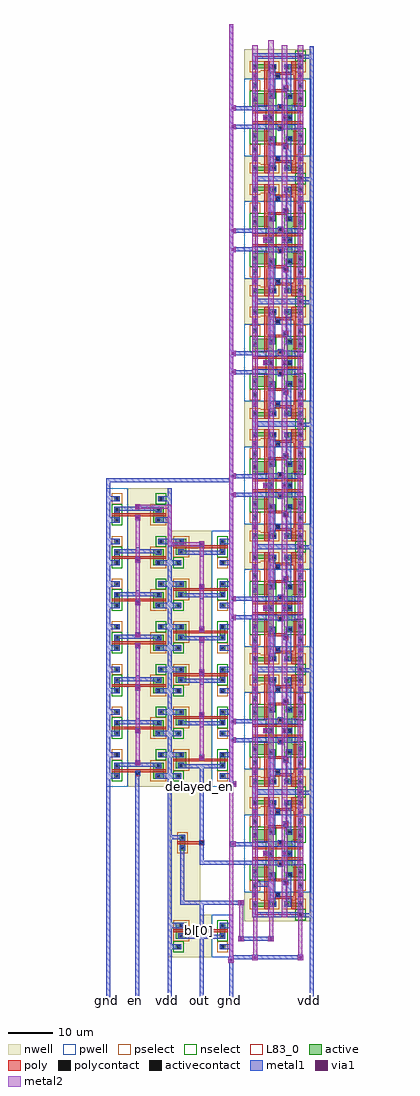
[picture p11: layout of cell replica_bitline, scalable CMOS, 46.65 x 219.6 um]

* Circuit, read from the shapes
.subckt replica_bitline bl[0] delayed_en en gnd out vdd
M1 delay_chain_2/pinv_6_1/A en gnd gnd nfet w=1.2u l=0.6u
M2 delay_chain_2/pinv_6_1/Z delay_chain_2/pinv_6_1/A gnd gnd nfet w=1.2u l=0.6u
M3 delay_chain_2/pinv_6_3/Z delay_chain_2/pinv_6_1/A gnd gnd nfet w=1.2u l=0.6u
M4 delay_chain_2/pinv_6_11/A delay_chain_2/pinv_6_1/A gnd gnd nfet w=1.2u l=0.6u
M5 delay_chain_2/pinv_6_36/Z delay_chain_2/pinv_6_11/A gnd gnd nfet w=1.2u l=0.6u
M6 delay_chain_2/pinv_6_38/Z delay_chain_2/pinv_6_11/A gnd gnd nfet w=1.2u l=0.6u
M7 delay_chain_2/pinv_6_13/A delay_chain_2/pinv_6_11/A gnd gnd nfet w=1.2u l=0.6u
M8 gnd bl[0] out gnd nfet w=1.2u l=0.6u
M9 gnd delay_chain_2/pinv_6_19/A delayed_en gnd nfet w=1.2u l=0.6u
M10 gnd delay_chain_2/pinv_6_19/A delay_chain_2/pinv_6_21/Z gnd nfet w=1.2u l=0.6u
M11 gnd delay_chain_2/pinv_6_19/A delay_chain_2/pinv_6_19/Z gnd nfet w=1.2u l=0.6u
M12 gnd delay_chain_2/pinv_6_13/A delay_chain_2/pinv_6_19/A gnd nfet w=1.2u l=0.6u
M13 gnd delay_chain_2/pinv_6_13/A delay_chain_2/pinv_6_15/Z gnd nfet w=1.2u l=0.6u
M14 gnd delay_chain_2/pinv_6_13/A delay_chain_2/pinv_6_13/Z gnd nfet w=1.2u l=0.6u
M15 gnd n1 gnd gnd nfet w=2.4u l=0.6u
M16 n2 n3 gnd gnd nfet w=2.4u l=0.6u
M17 n4 n5 gnd gnd nfet w=2.4u l=0.6u
M18 n6 n7 gnd gnd nfet w=2.4u l=0.6u
M19 n8 n9 gnd gnd nfet w=2.4u l=0.6u
M20 n10 n11 gnd gnd nfet w=2.4u l=0.6u
M21 n12 n13 gnd gnd nfet w=2.4u l=0.6u
M22 n14 n15 gnd gnd nfet w=2.4u l=0.6u
M23 n16 n17 gnd gnd nfet w=2.4u l=0.6u
M24 n18 n19 gnd gnd nfet w=2.4u l=0.6u
M25 n20 n21 gnd gnd nfet w=2.4u l=0.6u
M26 n22 n23 gnd gnd nfet w=2.4u l=0.6u
M27 n24 n25 gnd gnd nfet w=2.4u l=0.6u
M28 n26 n27 gnd gnd nfet w=2.4u l=0.6u
M29 bl[0] delayed_en gnd gnd nfet w=1.2u l=0.6u
M30 n2 gnd bl[0] gnd nfet w=1.2u l=0.6u
M31 bl[0] gnd n4 gnd nfet w=1.2u l=0.6u
M32 n6 gnd bl[0] gnd nfet w=1.2u l=0.6u
M33 bl[0] gnd n8 gnd nfet w=1.2u l=0.6u
M34 n10 gnd bl[0] gnd nfet w=1.2u l=0.6u
M35 bl[0] gnd n12 gnd nfet w=1.2u l=0.6u
M36 n14 gnd bl[0] gnd nfet w=1.2u l=0.6u
M37 bl[0] gnd n16 gnd nfet w=1.2u l=0.6u
M38 n18 gnd bl[0] gnd nfet w=1.2u l=0.6u
M39 bl[0] gnd n20 gnd nfet w=1.2u l=0.6u
M40 n22 gnd bl[0] gnd nfet w=1.2u l=0.6u
M41 bl[0] gnd n24 gnd nfet w=1.2u l=0.6u
M42 n26 gnd bl[0] gnd nfet w=1.2u l=0.6u
M43 replica_cell_6t_29/BR delayed_en n1 gnd nfet w=1.2u l=0.6u
M44 n3 gnd replica_cell_6t_29/BR gnd nfet w=1.2u l=0.6u
M45 replica_cell_6t_29/BR gnd n5 gnd nfet w=1.2u l=0.6u
M46 n7 gnd replica_cell_6t_29/BR gnd nfet w=1.2u l=0.6u
M47 replica_cell_6t_29/BR gnd n9 gnd nfet w=1.2u l=0.6u
M48 n11 gnd replica_cell_6t_29/BR gnd nfet w=1.2u l=0.6u
M49 replica_cell_6t_29/BR gnd n13 gnd nfet w=1.2u l=0.6u
M50 n15 gnd replica_cell_6t_29/BR gnd nfet w=1.2u l=0.6u
M51 replica_cell_6t_29/BR gnd n17 gnd nfet w=1.2u l=0.6u
M52 n19 gnd replica_cell_6t_29/BR gnd nfet w=1.2u l=0.6u
M53 replica_cell_6t_29/BR gnd n21 gnd nfet w=1.2u l=0.6u
M54 n23 gnd replica_cell_6t_29/BR gnd nfet w=1.2u l=0.6u
M55 replica_cell_6t_29/BR gnd n25 gnd nfet w=1.2u l=0.6u
M56 n27 gnd replica_cell_6t_29/BR gnd nfet w=1.2u l=0.6u
M57 gnd gnd n1 gnd nfet w=2.4u l=0.6u
M58 gnd n2 n3 gnd nfet w=2.4u l=0.6u
M59 gnd n4 n5 gnd nfet w=2.4u l=0.6u
M60 gnd n6 n7 gnd nfet w=2.4u l=0.6u
M61 gnd n8 n9 gnd nfet w=2.4u l=0.6u
M62 gnd n10 n11 gnd nfet w=2.4u l=0.6u
M63 gnd n12 n13 gnd nfet w=2.4u l=0.6u
M64 gnd n14 n15 gnd nfet w=2.4u l=0.6u
M65 gnd n16 n17 gnd nfet w=2.4u l=0.6u
M66 gnd n18 n19 gnd nfet w=2.4u l=0.6u
M67 gnd n20 n21 gnd nfet w=2.4u l=0.6u
M68 gnd n22 n23 gnd nfet w=2.4u l=0.6u
M69 gnd n24 n25 gnd nfet w=2.4u l=0.6u
M70 gnd n26 n27 gnd nfet w=2.4u l=0.6u
M71 delay_chain_2/pinv_6_1/A en vdd vdd pfet w=2.4u l=0.6u
M72 delay_chain_2/pinv_6_1/Z delay_chain_2/pinv_6_1/A vdd vdd pfet w=2.4u l=0.6u
M73 delay_chain_2/pinv_6_3/Z delay_chain_2/pinv_6_1/A vdd vdd pfet w=2.4u l=0.6u
M74 delay_chain_2/pinv_6_11/A delay_chain_2/pinv_6_1/A vdd vdd pfet w=2.4u l=0.6u
M75 delay_chain_2/pinv_6_36/Z delay_chain_2/pinv_6_11/A vdd vdd pfet w=2.4u l=0.6u
M76 delay_chain_2/pinv_6_38/Z delay_chain_2/pinv_6_11/A vdd vdd pfet w=2.4u l=0.6u
M77 delay_chain_2/pinv_6_13/A delay_chain_2/pinv_6_11/A vdd vdd pfet w=2.4u l=0.6u
M78 vdd bl[0] out vdd pfet w=2.4u l=0.6u
M79 vdd delay_chain_2/pinv_6_19/A delayed_en vdd pfet w=2.4u l=0.6u
M80 vdd delay_chain_2/pinv_6_19/A delay_chain_2/pinv_6_21/Z vdd pfet w=2.4u l=0.6u
M81 vdd delay_chain_2/pinv_6_19/A delay_chain_2/pinv_6_19/Z vdd pfet w=2.4u l=0.6u
M82 vdd delay_chain_2/pinv_6_13/A delay_chain_2/pinv_6_19/A vdd pfet w=2.4u l=0.6u
M83 vdd delay_chain_2/pinv_6_13/A delay_chain_2/pinv_6_15/Z vdd pfet w=2.4u l=0.6u
M84 vdd delay_chain_2/pinv_6_13/A delay_chain_2/pinv_6_13/Z vdd pfet w=2.4u l=0.6u
M85 vdd delayed_en bl[0] vdd pfet w=1.2u l=0.6u
M86 gnd n1 vdd vdd pfet w=0.9u l=1.2u
M87 n2 n3 vdd vdd pfet w=0.9u l=1.2u
M88 n4 n5 vdd vdd pfet w=0.9u l=1.2u
M89 n6 n7 vdd vdd pfet w=0.9u l=1.2u
M90 n8 n9 vdd vdd pfet w=0.9u l=1.2u
M91 n10 n11 vdd vdd pfet w=0.9u l=1.2u
M92 n12 n13 vdd vdd pfet w=0.9u l=1.2u
M93 n14 n15 vdd vdd pfet w=0.9u l=1.2u
M94 n16 n17 vdd vdd pfet w=0.9u l=1.2u
M95 n18 n19 vdd vdd pfet w=0.9u l=1.2u
M96 n20 n21 vdd vdd pfet w=0.9u l=1.2u
M97 n22 n23 vdd vdd pfet w=0.9u l=1.2u
M98 n24 n25 vdd vdd pfet w=0.9u l=1.2u
M99 n26 n27 vdd vdd pfet w=0.9u l=1.2u
M100 vdd gnd n1 vdd pfet w=0.9u l=1.2u
M101 vdd n2 n3 vdd pfet w=0.9u l=1.2u
M102 vdd n4 n5 vdd pfet w=0.9u l=1.2u
M103 vdd n6 n7 vdd pfet w=0.9u l=1.2u
M104 vdd n8 n9 vdd pfet w=0.9u l=1.2u
M105 vdd n10 n11 vdd pfet w=0.9u l=1.2u
M106 vdd n12 n13 vdd pfet w=0.9u l=1.2u
M107 vdd n14 n15 vdd pfet w=0.9u l=1.2u
M108 vdd n16 n17 vdd pfet w=0.9u l=1.2u
M109 vdd n18 n19 vdd pfet w=0.9u l=1.2u
M110 vdd n20 n21 vdd pfet w=0.9u l=1.2u
M111 vdd n22 n23 vdd pfet w=0.9u l=1.2u
M112 vdd n24 n25 vdd pfet w=0.9u l=1.2u
M113 vdd n26 n27 vdd pfet w=0.9u l=1.2u
.ends

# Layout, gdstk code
from math import pi, radians
import gdstk
lib = gdstk.Library(unit=1e-6, precision=1e-09)
def R(c, l, rs):  # rectangles x0, y0, x1, y1
    for r in rs: c.add(gdstk.rectangle(r[:2], r[2:], *l))
def A(c, l, x, y, w, h, nx, ny, dx, dy):  # array of equal rectangles
    R(c, l, [(x+i*dx, y+j*dy, x+i*dx+w, y+j*dy+h) for i in range(nx) for j in range(ny)])
pwell = (41, 0)
nwell = (42, 0)
active = (43, 0)
pselect = (44, 0)
nselect = (45, 0)
poly = (46, 0)
polycontact = (47, 0)
activecontact = (48, 0)
metal1 = (49, 0)
via1 = (50, 0)
metal2 = (51, 0)
L83_0 = (83, 0)

active_contact_metal1_1x = lib.new_cell('active_contact_metal1_1x1_pn')
R(active_contact_metal1_1x, nwell, [(-1.8,-1.8,3,3), (-1.8,-1.8,3,3)])
R(active_contact_metal1_1x, active, [(0,0,1.2,1.2), (0,0,1.2,1.2)])
R(active_contact_metal1_1x, pselect, [(-0.6,-0.6,1.8,1.8), (-0.6,-0.6,1.8,1.8)])
R(active_contact_metal1_1x, activecontact, [(0.3,0.3,0.9,0.9), (0.3,0.3,0.9,0.9)])
R(active_contact_metal1_1x, metal1, [(0,0,1.2,1.2), (0,0,1.2,1.2)])

pmos_m1_w2_4_a_p = lib.new_cell('pmos_m1_w2_4_a_p')
R(pmos_m1_w2_4_a_p, nwell, [(-1.8,-1.8,5.4,4.2), (-1.8,-1.8,5.4,4.2)])
R(pmos_m1_w2_4_a_p, active, [(0,0,3.6,2.4), (0,0,3.6,2.4)])
R(pmos_m1_w2_4_a_p, pselect, [(-0.6,-0.6,4.2,3), (-0.6,-0.6,4.2,3)])
R(pmos_m1_w2_4_a_p, poly, [(1.5,-0.6,2.1,3), (1.5,-0.6,2.1,3), (1.5,-0.6,2.1,3), (1.5,-0.6,2.1,3)])
R(pmos_m1_w2_4_a_p, metal1, [(0,0.6,1.2,1.8), (0,0.6,1.2,1.8), (2.4,0.6,3.6,1.8), (2.4,0.6,3.6,1.8)])
pmos_m1_w2_4_a_p.add(gdstk.Reference(active_contact_metal1_1x, (0,0.6)))
pmos_m1_w2_4_a_p.add(gdstk.Reference(active_contact_metal1_1x, (2.4,0.6)))
pmos_m1_w2_4_a_p.add(gdstk.Reference(active_contact_metal1_1x, (0,0.6)))
pmos_m1_w2_4_a_p.add(gdstk.Reference(active_contact_metal1_1x, (2.4,0.6)))
pmos_m1_w2_4_a_p.add(gdstk.Label('S', (0,0.6), layer=49, texttype=0))
pmos_m1_w2_4_a_p.add(gdstk.Label('D', (2.4,0.6), layer=49, texttype=0))
pmos_m1_w2_4_a_p.add(gdstk.Label('G', (1.5,-0.6), layer=46, texttype=0))
pmos_m1_w2_4_a_p.add(gdstk.Label('S', (0,0.6), layer=49, texttype=0))
pmos_m1_w2_4_a_p.add(gdstk.Label('D', (2.4,0.6), layer=49, texttype=0))
pmos_m1_w2_4_a_p.add(gdstk.Label('G', (1.5,-0.6), layer=46, texttype=0))

c_active_contact_metal1_1x = lib.new_cell('active_contact_metal1_1x1_np')
R(c_active_contact_metal1_1x, pwell, [(-1.8,-1.8,3,3)])
R(c_active_contact_metal1_1x, active, [(0,0,1.2,1.2)])
R(c_active_contact_metal1_1x, nselect, [(-0.6,-0.6,1.8,1.8)])
R(c_active_contact_metal1_1x, activecontact, [(0.3,0.3,0.9,0.9)])
R(c_active_contact_metal1_1x, metal1, [(0,0,1.2,1.2)])

nmos_m1_w1_2_a_p = lib.new_cell('nmos_m1_w1_2_a_p')
R(nmos_m1_w1_2_a_p, pwell, [(-1.8,-1.8,5.4,3), (-1.8,-1.8,5.4,3)])
R(nmos_m1_w1_2_a_p, active, [(0,0,3.6,1.2), (0,0,3.6,1.2)])
R(nmos_m1_w1_2_a_p, nselect, [(-0.6,-0.6,4.2,1.8), (-0.6,-0.6,4.2,1.8)])
R(nmos_m1_w1_2_a_p, poly, [(1.5,-0.6,2.1,1.8), (1.5,-0.6,2.1,1.8), (1.5,-0.6,2.1,1.8), (1.5,-0.6,2.1,1.8)])
R(nmos_m1_w1_2_a_p, metal1, [(0,0,1.2,1.2), (0,0,1.2,1.2), (2.4,0,3.6,1.2), (2.4,0,3.6,1.2)])
nmos_m1_w1_2_a_p.add(gdstk.Reference(c_active_contact_metal1_1x, (0,0)))
nmos_m1_w1_2_a_p.add(gdstk.Reference(c_active_contact_metal1_1x, (2.4,0)))
nmos_m1_w1_2_a_p.add(gdstk.Reference(c_active_contact_metal1_1x, (0,0)))
nmos_m1_w1_2_a_p.add(gdstk.Reference(c_active_contact_metal1_1x, (2.4,0)))
nmos_m1_w1_2_a_p.add(gdstk.Label('S', (0,0), layer=49, texttype=0))
nmos_m1_w1_2_a_p.add(gdstk.Label('D', (2.4,0), layer=49, texttype=0))
nmos_m1_w1_2_a_p.add(gdstk.Label('G', (1.5,-0.6), layer=46, texttype=0))
nmos_m1_w1_2_a_p.add(gdstk.Label('S', (0,0), layer=49, texttype=0))
nmos_m1_w1_2_a_p.add(gdstk.Label('D', (2.4,0), layer=49, texttype=0))
nmos_m1_w1_2_a_p.add(gdstk.Label('G', (1.5,-0.6), layer=46, texttype=0))

c_active_contact_metal1_1x_ = lib.new_cell('active_contact_metal1_1x1_nn')
R(c_active_contact_metal1_1x_, nwell, [(-1.8,-1.8,3,3), (-1.8,-1.8,3,3)])
R(c_active_contact_metal1_1x_, active, [(0,0,1.2,1.2), (0,0,1.2,1.2)])
R(c_active_contact_metal1_1x_, nselect, [(-0.6,-0.6,1.8,1.8), (-0.6,-0.6,1.8,1.8)])
R(c_active_contact_metal1_1x_, activecontact, [(0.3,0.3,0.9,0.9), (0.3,0.3,0.9,0.9)])
R(c_active_contact_metal1_1x_, metal1, [(0,0,1.2,1.2), (0,0,1.2,1.2)])

c_active_contact_metal1_1x__ = lib.new_cell('active_contact_metal1_1x1_pp')
R(c_active_contact_metal1_1x__, pwell, [(-1.8,-1.8,3,3)])
R(c_active_contact_metal1_1x__, active, [(0,0,1.2,1.2)])
R(c_active_contact_metal1_1x__, pselect, [(-0.6,-0.6,1.8,1.8)])
R(c_active_contact_metal1_1x__, activecontact, [(0.3,0.3,0.9,0.9)])
R(c_active_contact_metal1_1x__, metal1, [(0,0,1.2,1.2)])

poly_contact_metal1_1x1 = lib.new_cell('poly_contact_metal1_1x1')
R(poly_contact_metal1_1x1, poly, [(0,0,1.2,1.2), (0,0,1.2,1.2)])
R(poly_contact_metal1_1x1, polycontact, [(0.3,0.3,0.9,0.9), (0.3,0.3,0.9,0.9)])
R(poly_contact_metal1_1x1, metal1, [(0,0,1.2,1.2), (0,0,1.2,1.2)])

pinv_7 = lib.new_cell('pinv_7')
R(pinv_7, pwell, [(0,-0.45,9.6,4.35)])
R(pinv_7, nwell, [(0,4.35,9.6,14.25)])
R(pinv_7, poly, [(3.3,0.75,3.9,9.45), (3,6,3.3,7.2)])
R(pinv_7, metal1, [(0,-0.45,9.6,0.45), (1.8,-0.45,3,1.35), (6.6,0,7.8,1.95), (4.5,1.35,5.4,10.65), (2.4,6,3.6,7.2), (4.95,6.15,5.85,7.05), (1.8,10.65,3,14.25), (6.6,11.85,7.8,13.8), (0,13.35,9.6,14.25)])
pinv_7.add(gdstk.Reference(pmos_m1_w2_4_a_p, (1.8,10.05)))
pinv_7.add(gdstk.Reference(nmos_m1_w1_2_a_p, (1.8,1.35)))
pinv_7.add(gdstk.Reference(c_active_contact_metal1_1x_, (6.6,11.25)))
pinv_7.add(gdstk.Reference(c_active_contact_metal1_1x__, (6.6,1.35)))
pinv_7.add(gdstk.Reference(poly_contact_metal1_1x1, (2.4,6)))
pinv_7.add(gdstk.Label('A', (2.4,6), layer=49, texttype=0))
pinv_7.add(gdstk.Label('Z', (4.95,6.15), layer=49, texttype=0))
pinv_7.add(gdstk.Label('vdd', (0,13.35), layer=49, texttype=0))
pinv_7.add(gdstk.Label('gnd', (0,-0.45), layer=49, texttype=0))

pmos_m1_w1_2 = lib.new_cell('pmos_m1_w1_2')
R(pmos_m1_w1_2, nwell, [(-1.8,-1.8,5.4,3)])
R(pmos_m1_w1_2, active, [(0,0,3.6,1.2)])
R(pmos_m1_w1_2, pselect, [(-0.6,-0.6,4.2,1.8)])
R(pmos_m1_w1_2, poly, [(1.5,-0.6,2.1,1.8), (1.5,-0.6,2.1,1.8)])
R(pmos_m1_w1_2, metal1, [(0,0,1.2,1.2), (2.4,0,3.6,1.2)])
pmos_m1_w1_2.add(gdstk.Reference(active_contact_metal1_1x, (0,0)))
pmos_m1_w1_2.add(gdstk.Reference(active_contact_metal1_1x, (2.4,0)))
pmos_m1_w1_2.add(gdstk.Label('S', (0,0), layer=49, texttype=0))
pmos_m1_w1_2.add(gdstk.Label('D', (2.4,0), layer=49, texttype=0))
pmos_m1_w1_2.add(gdstk.Label('G', (1.5,-0.6), layer=46, texttype=0))

pinv_6 = lib.new_cell('pinv_6')
R(pinv_6, pwell, [(0,-0.45,9.6,4.35)])
R(pinv_6, nwell, [(0,4.35,9.6,14.25)])
R(pinv_6, poly, [(3.3,0.75,3.9,9.45), (3,6,3.3,7.2)])
R(pinv_6, metal1, [(0,-0.45,9.6,0.45), (1.8,-0.45,3,1.35), (6.6,0,7.8,1.95), (4.5,1.35,5.4,10.65), (2.4,6,3.6,7.2), (4.95,6.15,5.85,7.05), (1.8,10.65,3,14.25), (6.6,11.85,7.8,13.8), (0,13.35,9.6,14.25)])
pinv_6.add(gdstk.Reference(pmos_m1_w2_4_a_p, (1.8,10.05)))
pinv_6.add(gdstk.Reference(nmos_m1_w1_2_a_p, (1.8,1.35)))
pinv_6.add(gdstk.Reference(c_active_contact_metal1_1x_, (6.6,11.25)))
pinv_6.add(gdstk.Reference(c_active_contact_metal1_1x__, (6.6,1.35)))
pinv_6.add(gdstk.Reference(poly_contact_metal1_1x1, (2.4,6)))
pinv_6.add(gdstk.Label('A', (2.4,6), layer=49, texttype=0))
pinv_6.add(gdstk.Label('Z', (4.95,6.15), layer=49, texttype=0))
pinv_6.add(gdstk.Label('vdd', (0,13.35), layer=49, texttype=0))
pinv_6.add(gdstk.Label('gnd', (0,-0.45), layer=49, texttype=0))

metal1_via1_metal2_1x1 = lib.new_cell('metal1_via1_metal2_1x1')
R(metal1_via1_metal2_1x1, metal1, [(0,0,1.2,1.2), (0,0,1.2,1.2)])
R(metal1_via1_metal2_1x1, via1, [(0.3,0.3,0.9,0.9), (0.3,0.3,0.9,0.9)])
R(metal1_via1_metal2_1x1, metal2, [(0,0,1.2,1.2), (0,0,1.2,1.2)])

delay_chain = lib.new_cell('delay_chain')
R(delay_chain, metal1, [(0,-0.45,67.2,0.45), (0,-0.45,67.2,0.45), (67.2,-0.45,69,0.45), (67.2,-0.45,69,0.45), (68.55,-0.45,69.45,0.45), (68.55,-0.45,69.45,0.45), (68.55,0,69.45,27.6), (68.55,0,69.45,27.6), (0,6.15,3.75,7.05), (0,6.15,3.75,7.05), (0,13.35,67.2,14.25), (0,13.35,67.2,14.25), (2.4,20.4,3.6,21.6), (2.4,20.4,3.6,21.6), (0,27.15,67.2,28.05), (0,27.15,67.2,28.05), (67.2,27.15,69,28.05), (67.2,27.15,69,28.05), (68.55,27.15,69.45,28.05), (68.55,27.15,69.45,28.05)])
R(delay_chain, metal2, [(6.6,6.15,16.2,7.05), (6.6,6.15,16.2,7.05), (16.2,6.15,25.8,7.05), (16.2,6.15,25.8,7.05), (25.8,6.15,33,7.05), (25.8,6.15,33,7.05), (35.4,6.15,45,7.05), (35.4,6.15,45,7.05), (45,6.15,54.6,7.05), (45,6.15,54.6,7.05), (54.15,6.6,55.05,13.8), (54.15,6.6,55.05,13.8), (54.15,13.35,55.05,14.25), (54.15,13.35,55.05,14.25), (54.6,13.35,63,14.25), (54.6,13.35,63,14.25), (62.55,13.35,63.45,14.25), (62.55,13.35,63.45,14.25), (62.55,13.8,63.45,21), (62.55,13.8,63.45,21), (5.4,20.55,12.6,21.45), (5.4,20.55,12.6,21.45), (12.6,20.55,22.2,21.45), (12.6,20.55,22.2,21.45), (22.2,20.55,31.8,21.45), (22.2,20.55,31.8,21.45), (34.2,20.55,41.4,21.45), (34.2,20.55,41.4,21.45), (41.4,20.55,51,21.45), (41.4,20.55,51,21.45), (51,20.55,60.6,21.45), (51,20.55,60.6,21.45)])
delay_chain.add(gdstk.Reference(pinv_6, (0,27.6), x_reflection=True))
delay_chain.add(gdstk.Reference(pinv_6, (9.6,27.6), x_reflection=True))
delay_chain.add(gdstk.Reference(metal1_via1_metal2_1x1, (12,20.4)))
delay_chain.add(gdstk.Reference(pinv_6, (19.2,27.6), x_reflection=True))
delay_chain.add(gdstk.Reference(metal1_via1_metal2_1x1, (21.6,20.4)))
delay_chain.add(gdstk.Reference(pinv_6, (28.8,27.6), x_reflection=True))
delay_chain.add(gdstk.Reference(metal1_via1_metal2_1x1, (31.2,20.4)))
delay_chain.add(gdstk.Reference(pinv_6, (38.4,27.6), x_reflection=True))
delay_chain.add(gdstk.Reference(metal1_via1_metal2_1x1, (40.8,20.4)))
delay_chain.add(gdstk.Reference(pinv_6, (48,27.6), x_reflection=True))
delay_chain.add(gdstk.Reference(metal1_via1_metal2_1x1, (50.4,20.4)))
delay_chain.add(gdstk.Reference(pinv_6, (57.6,27.6), x_reflection=True))
delay_chain.add(gdstk.Reference(metal1_via1_metal2_1x1, (60,20.4)))
delay_chain.add(gdstk.Reference(pinv_6, (57.6,0), rotation=pi, x_reflection=True))
delay_chain.add(gdstk.Reference(metal1_via1_metal2_1x1, (54,6)))
delay_chain.add(gdstk.Reference(pinv_6, (48,0), rotation=pi, x_reflection=True))
delay_chain.add(gdstk.Reference(metal1_via1_metal2_1x1, (44.4,6)))
delay_chain.add(gdstk.Reference(pinv_6, (38.4,0), rotation=pi, x_reflection=True))
delay_chain.add(gdstk.Reference(metal1_via1_metal2_1x1, (34.8,6)))
delay_chain.add(gdstk.Reference(pinv_6, (28.8,0), rotation=pi, x_reflection=True))
delay_chain.add(gdstk.Reference(metal1_via1_metal2_1x1, (25.2,6)))
delay_chain.add(gdstk.Reference(pinv_6, (19.2,0), rotation=pi, x_reflection=True))
delay_chain.add(gdstk.Reference(metal1_via1_metal2_1x1, (15.6,6)))
delay_chain.add(gdstk.Reference(pinv_6, (9.6,0), rotation=pi, x_reflection=True))
delay_chain.add(gdstk.Reference(metal1_via1_metal2_1x1, (6,6)))
delay_chain.add(gdstk.Reference(metal1_via1_metal2_1x1, (4.8,20.4)))
delay_chain.add(gdstk.Reference(metal1_via1_metal2_1x1, (33.6,20.4)))
delay_chain.add(gdstk.Reference(metal1_via1_metal2_1x1, (62.4,20.4)))
delay_chain.add(gdstk.Reference(metal1_via1_metal2_1x1, (32.4,6)))
delay_chain.add(gdstk.Reference(pinv_6, (0,27.6), x_reflection=True))
delay_chain.add(gdstk.Reference(pinv_6, (9.6,27.6), x_reflection=True))
delay_chain.add(gdstk.Reference(metal1_via1_metal2_1x1, (12,20.4)))
delay_chain.add(gdstk.Reference(pinv_6, (19.2,27.6), x_reflection=True))
delay_chain.add(gdstk.Reference(metal1_via1_metal2_1x1, (21.6,20.4)))
delay_chain.add(gdstk.Reference(pinv_6, (28.8,27.6), x_reflection=True))
delay_chain.add(gdstk.Reference(metal1_via1_metal2_1x1, (31.2,20.4)))
delay_chain.add(gdstk.Reference(pinv_6, (38.4,27.6), x_reflection=True))
delay_chain.add(gdstk.Reference(metal1_via1_metal2_1x1, (40.8,20.4)))
delay_chain.add(gdstk.Reference(pinv_6, (48,27.6), x_reflection=True))
delay_chain.add(gdstk.Reference(metal1_via1_metal2_1x1, (50.4,20.4)))
delay_chain.add(gdstk.Reference(pinv_6, (57.6,27.6), x_reflection=True))
delay_chain.add(gdstk.Reference(metal1_via1_metal2_1x1, (60,20.4)))
delay_chain.add(gdstk.Reference(pinv_6, (57.6,0), rotation=pi, x_reflection=True))
delay_chain.add(gdstk.Reference(metal1_via1_metal2_1x1, (54,6)))
delay_chain.add(gdstk.Reference(pinv_6, (48,0), rotation=pi, x_reflection=True))
delay_chain.add(gdstk.Reference(metal1_via1_metal2_1x1, (44.4,6)))
delay_chain.add(gdstk.Reference(pinv_6, (38.4,0), rotation=pi, x_reflection=True))
delay_chain.add(gdstk.Reference(metal1_via1_metal2_1x1, (34.8,6)))
delay_chain.add(gdstk.Reference(pinv_6, (28.8,0), rotation=pi, x_reflection=True))
delay_chain.add(gdstk.Reference(metal1_via1_metal2_1x1, (25.2,6)))
delay_chain.add(gdstk.Reference(pinv_6, (19.2,0), rotation=pi, x_reflection=True))
delay_chain.add(gdstk.Reference(metal1_via1_metal2_1x1, (15.6,6)))
delay_chain.add(gdstk.Reference(pinv_6, (9.6,0), rotation=pi, x_reflection=True))
delay_chain.add(gdstk.Reference(metal1_via1_metal2_1x1, (6,6)))
delay_chain.add(gdstk.Reference(metal1_via1_metal2_1x1, (4.8,20.4)))
delay_chain.add(gdstk.Reference(metal1_via1_metal2_1x1, (33.6,20.4)))
delay_chain.add(gdstk.Reference(metal1_via1_metal2_1x1, (62.4,20.4)))
delay_chain.add(gdstk.Reference(metal1_via1_metal2_1x1, (32.4,6)))
delay_chain.add(gdstk.Label('out', (0,6.15), layer=49, texttype=0))
delay_chain.add(gdstk.Label('vdd', (0,13.35), layer=49, texttype=0))
delay_chain.add(gdstk.Label('gnd', (0,-0.45), layer=49, texttype=0))
delay_chain.add(gdstk.Label('gnd', (0,27.15), layer=49, texttype=0))
delay_chain.add(gdstk.Label('in', (2.4,20.4), layer=49, texttype=0))
delay_chain.add(gdstk.Label('out', (0,6.15), layer=49, texttype=0))
delay_chain.add(gdstk.Label('vdd', (0,13.35), layer=49, texttype=0))
delay_chain.add(gdstk.Label('gnd', (0,-0.45), layer=49, texttype=0))
delay_chain.add(gdstk.Label('gnd', (0,27.15), layer=49, texttype=0))
delay_chain.add(gdstk.Label('in', (2.4,20.4), layer=49, texttype=0))

replica_cell_6t = lib.new_cell('replica_cell_6t')
R(replica_cell_6t, pwell, [(-2.4,-2.4,12.6,8.7)])
R(replica_cell_6t, nwell, [(-2.4,8.7,12.6,15.3)])
A(replica_cell_6t, active, 3.6, 10.8, 1.2, 0.3, 3, 1, 3, 0)
R(replica_cell_6t, active, [(3,-0.6,4.2,3), (7.2,-0.6,8.4,3), (-0.6,3,4.2,5.4), (7.2,3,10.8,5.4), (-0.6,6.6,0.6,7.8), (9.6,6.6,10.8,7.8), (-0.6,10.8,0.6,11.1), (-0.6,11.1,4.8,12), (6.6,11.1,10.8,12), (9.6,13.2,10.8,14.4)])
A(replica_cell_6t, pselect, 3, 10.2, 2.4, 0.3, 3, 1, 3, 0)
R(replica_cell_6t, pselect, [(-1.2,6,1.2,8.4), (9,6,11.4,8.4), (-1.2,10.2,1.2,10.5), (-1.2,10.5,5.4,12.6), (6,10.5,11.4,12.6)])
R(replica_cell_6t, nselect, [(2.4,-1.2,4.8,2.4), (6.6,-1.2,9,2.4), (-1.2,2.4,4.8,6), (6.6,2.4,11.4,6), (9,12.6,11.4,15)])
R(replica_cell_6t, poly, [(-0.6,0.9,10.8,1.5), (5.1,1.5,6.3,3), (2.1,2.4,2.7,5.7), (8.7,2.4,9.3,9.6), (2.1,5.7,7.2,6), (2.1,6,7.5,6.3), (2.1,6.3,2.7,10.5), (6.3,6.3,7.5,7.2), (4.5,8.7,5.7,9.6), (4.5,9.6,9.3,10.2), (8.1,10.2,9.3,12.6), (2.1,10.5,3.3,12.6)])
R(replica_cell_6t, polycontact, [(5.4,2.1,6,2.7), (6.6,6.3,7.2,6.9), (4.8,9,5.4,9.6)])
A(replica_cell_6t, activecontact, 3.9, 11.1, 0.6, 0.6, 3, 1, 3, 0)
R(replica_cell_6t, activecontact, [(3.3,-0.3,3.9,0.3), (7.5,-0.3,8.1,0.3), (-0.3,3.9,0.3,4.5), (9.9,3.9,10.5,4.5), (3.3,4.5,3.9,5.1), (7.5,4.5,8.1,5.1), (-0.3,6.9,0.3,7.5), (9.9,6.9,10.5,7.5), (-0.3,11.1,0.3,11.7), (9.9,13.5,10.5,14.1)])
R(replica_cell_6t, metal1, [(1.8,-0.6,4.2,0.6), (6,-0.6,8.4,0.6), (-0.6,1.5,10.8,2.7), (-0.6,1.5,10.8,2.7), (5.1,2.7,6.3,3), (-0.6,3.6,0.6,6.3), (9.6,3.6,10.8,9.9), (3,4.2,4.5,5.4), (6.9,4.2,8.4,5.4), (3.3,5.4,4.5,6.3), (6.9,5.4,8.1,6), (6.3,6,8.1,7.2), (-0.6,6.3,4.5,7.5), (6.9,7.2,8.1,10.8), (-0.6,7.5,0.6,9.9), (3.3,7.5,4.5,8.7), (3.3,8.7,5.7,9.9), (3.3,9.9,4.5,10.8), (-0.6,10.8,0.6,13.2), (3.3,10.8,4.8,12), (6.6,10.8,8.1,12), (9.6,10.8,10.8,13.2), (-0.6,13.2,10.8,14.4), (-0.6,13.2,10.8,14.4)])
R(replica_cell_6t, via1, [(2.1,-0.3,2.7,0.3), (6.3,-0.3,6.9,0.3), (-0.3,9,0.3,9.6), (9.9,9,10.5,9.6)])
R(replica_cell_6t, metal2, [(-0.6,-0.6,0.6,14.4), (-0.6,-0.6,0.6,14.4), (1.8,-0.6,4.2,0.6), (6,-0.6,7.2,14.4), (6,-0.6,7.2,14.4), (9.6,-0.6,10.8,14.4), (9.6,-0.6,10.8,14.4), (3,0.6,4.2,14.4), (3,0.6,4.2,14.4)])
R(replica_cell_6t, L83_0, [(0,0,10.2,13.8)])
replica_cell_6t.add(gdstk.Label('WL', (0.6,1.8), layer=49, texttype=0))
replica_cell_6t.add(gdstk.Label('gnd', (-0.3,8.4), layer=51, texttype=0))
replica_cell_6t.add(gdstk.Label('gnd', (9.9,8.4), layer=51, texttype=0))
replica_cell_6t.add(gdstk.Label('vdd', (5.1,13.8), layer=49, texttype=0))
replica_cell_6t.add(gdstk.Label('BL', (3.3,12.9), layer=51, texttype=0))
replica_cell_6t.add(gdstk.Label('BR', (6.3,12.9), layer=51, texttype=0))
replica_cell_6t.add(gdstk.Label('BL', (3,0.6), layer=51, texttype=0))
replica_cell_6t.add(gdstk.Label('WL', (-0.6,1.5), layer=49, texttype=0))
replica_cell_6t.add(gdstk.Label('gnd', (-0.6,-0.6), layer=51, texttype=0))
replica_cell_6t.add(gdstk.Label('gnd', (9.6,-0.6), layer=51, texttype=0))
replica_cell_6t.add(gdstk.Label('vdd', (-0.6,13.2), layer=49, texttype=0))
replica_cell_6t.add(gdstk.Label('BR', (6,-0.6), layer=51, texttype=0))

cell_6t = lib.new_cell('cell_6t')
R(cell_6t, pwell, [(-2.4,-2.4,12.6,8.7)])
R(cell_6t, nwell, [(-2.4,8.7,12.6,15.3)])
A(cell_6t, active, 3.6, 10.8, 1.2, 0.3, 3, 1, 3, 0)
R(cell_6t, active, [(3,-0.6,4.2,3), (7.2,-0.6,8.4,3), (-0.6,3,4.2,5.4), (7.2,3,10.8,5.4), (-0.6,6.6,0.6,7.8), (9.6,6.6,10.8,7.8), (-0.6,10.8,0.6,11.1), (-0.6,11.1,4.8,12), (6.6,11.1,10.8,12), (9.6,13.2,10.8,14.4)])
A(cell_6t, pselect, 3, 10.2, 2.4, 0.3, 3, 1, 3, 0)
R(cell_6t, pselect, [(-1.2,6,1.2,8.4), (9,6,11.4,8.4), (-1.2,10.2,1.2,10.5), (-1.2,10.5,5.4,12.6), (6,10.5,11.4,12.6)])
R(cell_6t, nselect, [(2.4,-1.2,4.8,2.4), (6.6,-1.2,9,2.4), (-1.2,2.4,4.8,6), (6.6,2.4,11.4,6), (9,12.6,11.4,15)])
R(cell_6t, poly, [(-0.6,0.9,10.8,1.5), (5.1,1.5,6.3,3), (2.1,2.4,2.7,5.7), (8.7,2.4,9.3,9.6), (2.1,5.7,7.2,6), (2.1,6,7.5,6.3), (2.1,6.3,2.7,10.5), (6.3,6.3,7.5,7.2), (4.5,8.7,5.7,9.6), (4.5,9.6,9.3,10.2), (8.1,10.2,9.3,12.6), (2.1,10.5,3.3,12.6)])
R(cell_6t, polycontact, [(5.4,2.1,6,2.7), (6.6,6.3,7.2,6.9), (4.8,9,5.4,9.6)])
A(cell_6t, activecontact, 3.9, 11.1, 0.6, 0.6, 3, 1, 3, 0)
R(cell_6t, activecontact, [(3.3,-0.3,3.9,0.3), (7.5,-0.3,8.1,0.3), (-0.3,3.9,0.3,4.5), (9.9,3.9,10.5,4.5), (3.3,4.5,3.9,5.1), (7.5,4.5,8.1,5.1), (-0.3,6.9,0.3,7.5), (9.9,6.9,10.5,7.5), (-0.3,11.1,0.3,11.7), (9.9,13.5,10.5,14.1)])
R(cell_6t, metal1, [(1.8,-0.6,4.2,0.6), (6,-0.6,8.4,0.6), (-0.6,1.5,10.8,2.7), (-0.6,1.5,10.8,2.7), (5.1,2.7,6.3,3), (-0.6,3.6,0.6,9.9), (9.6,3.6,10.8,9.9), (3,4.2,4.5,5.4), (6.9,4.2,8.4,5.4), (3.3,5.4,4.5,8.7), (6.9,5.4,8.1,6), (6.3,6,8.1,7.2), (6.9,7.2,8.1,10.8), (3.3,8.7,5.7,9.9), (3.3,9.9,4.5,10.8), (-0.6,10.8,0.6,13.2), (3.3,10.8,4.8,12), (6.6,10.8,8.1,12), (9.6,10.8,10.8,13.2), (-0.6,13.2,10.8,14.4), (-0.6,13.2,10.8,14.4)])
R(cell_6t, via1, [(2.1,-0.3,2.7,0.3), (6.3,-0.3,6.9,0.3), (-0.3,9,0.3,9.6), (9.9,9,10.5,9.6)])
R(cell_6t, metal2, [(-0.6,-0.6,0.6,14.4), (-0.6,-0.6,0.6,14.4), (1.8,-0.6,4.2,0.6), (6,-0.6,7.2,14.4), (6,-0.6,7.2,14.4), (9.6,-0.6,10.8,14.4), (9.6,-0.6,10.8,14.4), (3,0.6,4.2,14.4), (3,0.6,4.2,14.4)])
R(cell_6t, L83_0, [(0,0,10.2,13.8)])
cell_6t.add(gdstk.Label('WL', (0.6,1.8), layer=49, texttype=0))
cell_6t.add(gdstk.Label('gnd', (-0.3,8.4), layer=51, texttype=0))
cell_6t.add(gdstk.Label('gnd', (9.9,8.4), layer=51, texttype=0))
cell_6t.add(gdstk.Label('vdd', (5.1,13.8), layer=49, texttype=0))
cell_6t.add(gdstk.Label('BL', (3.3,12.9), layer=51, texttype=0))
cell_6t.add(gdstk.Label('BR', (6.3,12.9), layer=51, texttype=0))
cell_6t.add(gdstk.Label('BL', (3,0.6), layer=51, texttype=0))
cell_6t.add(gdstk.Label('WL', (-0.6,1.5), layer=49, texttype=0))
cell_6t.add(gdstk.Label('gnd', (-0.6,-0.6), layer=51, texttype=0))
cell_6t.add(gdstk.Label('gnd', (9.6,-0.6), layer=51, texttype=0))
cell_6t.add(gdstk.Label('vdd', (-0.6,13.2), layer=49, texttype=0))
cell_6t.add(gdstk.Label('BR', (6,-0.6), layer=51, texttype=0))

bitline_load = lib.new_cell('bitline_load')
R(bitline_load, metal1, [(-0.6,1.5,10.8,2.7), (-0.6,1.5,10.8,2.7), (-0.6,13.2,10.8,14.1), (-0.6,13.2,10.8,14.1), (-0.6,24.9,10.8,26.1), (-0.6,24.9,10.8,26.1), (-0.6,29.1,10.8,30.3), (-0.6,29.1,10.8,30.3), (-0.6,40.8,10.8,41.7), (-0.6,40.8,10.8,41.7), (-0.6,52.5,10.8,53.7), (-0.6,52.5,10.8,53.7), (-0.6,56.7,10.8,57.9), (-0.6,56.7,10.8,57.9), (-0.6,68.4,10.8,69.3), (-0.6,68.4,10.8,69.3), (-0.6,80.1,10.8,81.3), (-0.6,80.1,10.8,81.3), (-0.6,84.3,10.8,85.5), (-0.6,84.3,10.8,85.5), (-0.6,96,10.8,96.9), (-0.6,96,10.8,96.9), (-0.6,107.7,10.8,108.9), (-0.6,107.7,10.8,108.9), (-0.6,111.9,10.8,113.1), (-0.6,111.9,10.8,113.1), (-0.6,123.6,10.8,124.5), (-0.6,123.6,10.8,124.5), (-0.6,135.3,10.8,136.5), (-0.6,135.3,10.8,136.5), (-0.6,139.5,10.8,140.7), (-0.6,139.5,10.8,140.7), (-0.6,151.2,10.8,152.1), (-0.6,151.2,10.8,152.1), (-0.6,162.9,10.8,164.1), (-0.6,162.9,10.8,164.1), (-0.6,167.1,10.8,168.3), (-0.6,167.1,10.8,168.3), (-0.6,178.8,10.8,179.7), (-0.6,178.8,10.8,179.7)])
R(bitline_load, metal2, [(-0.6,-0.6,0.6,181.8), (-0.6,-0.6,0.6,181.8), (6,-0.6,7.2,181.8), (6,-0.6,7.2,181.8), (9.6,-0.6,10.8,181.8), (9.6,-0.6,10.8,181.8), (3,0.6,4.2,183), (3,0.6,4.2,183)])
bitline_load.add(gdstk.Reference(cell_6t, (0,0)))
bitline_load.add(gdstk.Reference(cell_6t, (0,27.6), x_reflection=True))
bitline_load.add(gdstk.Reference(cell_6t, (0,27.6)))
bitline_load.add(gdstk.Reference(cell_6t, (0,55.2), x_reflection=True))
bitline_load.add(gdstk.Reference(cell_6t, (0,55.2)))
bitline_load.add(gdstk.Reference(cell_6t, (0,82.8), x_reflection=True))
bitline_load.add(gdstk.Reference(cell_6t, (0,82.8)))
bitline_load.add(gdstk.Reference(cell_6t, (0,110.4), x_reflection=True))
bitline_load.add(gdstk.Reference(cell_6t, (0,110.4)))
bitline_load.add(gdstk.Reference(cell_6t, (0,138), x_reflection=True))
bitline_load.add(gdstk.Reference(cell_6t, (0,138)))
bitline_load.add(gdstk.Reference(cell_6t, (0,165.6), x_reflection=True))
bitline_load.add(gdstk.Reference(cell_6t, (0,165.6)))
bitline_load.add(gdstk.Reference(cell_6t, (0,0)))
bitline_load.add(gdstk.Reference(cell_6t, (0,27.6), x_reflection=True))
bitline_load.add(gdstk.Reference(cell_6t, (0,27.6)))
bitline_load.add(gdstk.Reference(cell_6t, (0,55.2), x_reflection=True))
bitline_load.add(gdstk.Reference(cell_6t, (0,55.2)))
bitline_load.add(gdstk.Reference(cell_6t, (0,82.8), x_reflection=True))
bitline_load.add(gdstk.Reference(cell_6t, (0,82.8)))
bitline_load.add(gdstk.Reference(cell_6t, (0,110.4), x_reflection=True))
bitline_load.add(gdstk.Reference(cell_6t, (0,110.4)))
bitline_load.add(gdstk.Reference(cell_6t, (0,138), x_reflection=True))
bitline_load.add(gdstk.Reference(cell_6t, (0,138)))
bitline_load.add(gdstk.Reference(cell_6t, (0,165.6), x_reflection=True))
bitline_load.add(gdstk.Reference(cell_6t, (0,165.6)))
bitline_load.add(gdstk.Label('wl[3]', (-0.6,52.5), layer=49, texttype=0))
bitline_load.add(gdstk.Label('wl[4]', (-0.6,56.7), layer=49, texttype=0))
bitline_load.add(gdstk.Label('bl[0]', (3,0.6), layer=51, texttype=0))
bitline_load.add(gdstk.Label('wl[5]', (-0.6,80.1), layer=49, texttype=0))
bitline_load.add(gdstk.Label('wl[0]', (-0.6,1.5), layer=49, texttype=0))
bitline_load.add(gdstk.Label('wl[1]', (-0.6,24.9), layer=49, texttype=0))
bitline_load.add(gdstk.Label('wl[2]', (-0.6,29.1), layer=49, texttype=0))
bitline_load.add(gdstk.Label('wl[11]', (-0.6,162.9), layer=49, texttype=0))
bitline_load.add(gdstk.Label('wl[8]', (-0.6,111.9), layer=49, texttype=0))
bitline_load.add(gdstk.Label('wl[10]', (-0.6,139.5), layer=49, texttype=0))
bitline_load.add(gdstk.Label('wl[9]', (-0.6,135.3), layer=49, texttype=0))
bitline_load.add(gdstk.Label('vdd', (-0.6,13.2), layer=49, texttype=0))
bitline_load.add(gdstk.Label('vdd', (-0.6,40.8), layer=49, texttype=0))
bitline_load.add(gdstk.Label('vdd', (-0.6,68.4), layer=49, texttype=0))
bitline_load.add(gdstk.Label('vdd', (-0.6,96), layer=49, texttype=0))
bitline_load.add(gdstk.Label('vdd', (-0.6,123.6), layer=49, texttype=0))
bitline_load.add(gdstk.Label('vdd', (-0.6,151.2), layer=49, texttype=0))
bitline_load.add(gdstk.Label('vdd', (-0.6,178.8), layer=49, texttype=0))
bitline_load.add(gdstk.Label('gnd', (-0.6,-0.6), layer=51, texttype=0))
bitline_load.add(gdstk.Label('gnd', (9.6,-0.6), layer=51, texttype=0))
bitline_load.add(gdstk.Label('br[0]', (6,-0.6), layer=51, texttype=0))
bitline_load.add(gdstk.Label('wl[12]', (-0.6,167.1), layer=49, texttype=0))
bitline_load.add(gdstk.Label('wl[6]', (-0.6,84.3), layer=49, texttype=0))
bitline_load.add(gdstk.Label('wl[7]', (-0.6,107.7), layer=49, texttype=0))
bitline_load.add(gdstk.Label('wl[3]', (-0.6,52.5), layer=49, texttype=0))
bitline_load.add(gdstk.Label('wl[4]', (-0.6,56.7), layer=49, texttype=0))
bitline_load.add(gdstk.Label('bl[0]', (3,0.6), layer=51, texttype=0))
bitline_load.add(gdstk.Label('wl[5]', (-0.6,80.1), layer=49, texttype=0))
bitline_load.add(gdstk.Label('wl[0]', (-0.6,1.5), layer=49, texttype=0))
bitline_load.add(gdstk.Label('wl[1]', (-0.6,24.9), layer=49, texttype=0))
bitline_load.add(gdstk.Label('wl[2]', (-0.6,29.1), layer=49, texttype=0))
bitline_load.add(gdstk.Label('wl[11]', (-0.6,162.9), layer=49, texttype=0))
bitline_load.add(gdstk.Label('wl[8]', (-0.6,111.9), layer=49, texttype=0))
bitline_load.add(gdstk.Label('wl[10]', (-0.6,139.5), layer=49, texttype=0))
bitline_load.add(gdstk.Label('wl[9]', (-0.6,135.3), layer=49, texttype=0))
bitline_load.add(gdstk.Label('vdd', (-0.6,13.2), layer=49, texttype=0))
bitline_load.add(gdstk.Label('vdd', (-0.6,40.8), layer=49, texttype=0))
bitline_load.add(gdstk.Label('vdd', (-0.6,68.4), layer=49, texttype=0))
bitline_load.add(gdstk.Label('vdd', (-0.6,96), layer=49, texttype=0))
bitline_load.add(gdstk.Label('vdd', (-0.6,123.6), layer=49, texttype=0))
bitline_load.add(gdstk.Label('vdd', (-0.6,151.2), layer=49, texttype=0))
bitline_load.add(gdstk.Label('vdd', (-0.6,178.8), layer=49, texttype=0))
bitline_load.add(gdstk.Label('gnd', (-0.6,-0.6), layer=51, texttype=0))
bitline_load.add(gdstk.Label('gnd', (9.6,-0.6), layer=51, texttype=0))
bitline_load.add(gdstk.Label('br[0]', (6,-0.6), layer=51, texttype=0))
bitline_load.add(gdstk.Label('wl[12]', (-0.6,167.1), layer=49, texttype=0))
bitline_load.add(gdstk.Label('wl[6]', (-0.6,84.3), layer=49, texttype=0))
bitline_load.add(gdstk.Label('wl[7]', (-0.6,107.7), layer=49, texttype=0))

replica_bitline = lib.new_cell('replica_bitline')
R(replica_bitline, nwell, [(13.8,19.2,20.7,48), (13.8,19.2,20.7,48)])
R(replica_bitline, poly, [(17.85,35.1,21,35.7), (17.85,35.1,21,35.7)])
R(replica_bitline, metal1, [(-0.45,0,0.45,48), (-0.45,0,0.45,48), (6,0,6.9,50.4), (6,0,6.9,50.4), (13.35,0,14.25,48), (13.35,0,14.25,48), (20.55,0,21.45,13.35), (20.55,0,21.45,13.35), (27.15,0,28.05,9.6), (27.15,0,28.05,9.6), (45.3,0,46.2,214.65), (45.3,0,46.2,214.65), (27.15,9.15,33,10.05), (27.15,9.15,33,10.05), (33,9.15,43.2,10.05), (33,9.15,43.2,10.05), (29.85,13.35,36.6,14.25), (29.85,13.35,36.6,14.25), (20.4,15.6,21.6,16.8), (20.4,15.6,21.6,16.8), (20.55,16.8,21.45,21.9), (20.55,16.8,21.45,21.9), (33,18.6,45.3,19.5), (33,18.6,45.3,19.5), (16.2,21.45,17.1,22.35), (16.2,21.45,17.1,22.35), (16.65,21.45,21,22.35), (16.65,21.45,21,22.35), (20.55,21.45,21.45,22.35), (20.55,21.45,21.45,22.35), (21,21.45,29.85,22.35), (21,21.45,29.85,22.35), (16.2,21.9,17.1,33.6), (16.2,21.9,17.1,33.6), (20.55,30.45,21.45,31.35), (20.55,30.45,21.45,31.35), (21,30.45,32.4,31.35), (21,30.45,32.4,31.35), (20.55,30.9,21.45,35.4), (20.55,30.9,21.45,35.4), (28.05,34.65,32.4,35.55), (28.05,34.65,32.4,35.55), (20.55,35.4,21.45,48), (20.55,35.4,21.45,48), (13.8,36.15,16.05,37.05), (13.8,36.15,16.05,37.05), (33,46.2,45.3,47.1), (33,46.2,45.3,47.1), (20.55,48,21.45,51.75), (20.55,48,21.45,51.75), (28.05,58.05,32.4,58.95), (28.05,58.05,32.4,58.95), (28.05,62.25,32.4,63.15), (28.05,62.25,32.4,63.15), (33,73.8,45.3,74.7), (33,73.8,45.3,74.7), (28.05,85.65,32.4,86.55), (28.05,85.65,32.4,86.55), (28.05,89.85,32.4,90.75), (28.05,89.85,32.4,90.75), (33,101.4,45.3,102.3), (33,101.4,45.3,102.3), (28.05,113.25,32.4,114.15), (28.05,113.25,32.4,114.15), (27.15,117.45,28.05,219.6), (27.15,117.45,28.05,219.6), (28.05,117.45,32.4,118.35), (28.05,117.45,32.4,118.35), (33,129,45.3,129.9), (33,129,45.3,129.9), (28.05,140.85,32.4,141.75), (28.05,140.85,32.4,141.75), (28.05,145.05,32.4,145.95), (28.05,145.05,32.4,145.95), (33,156.6,45.3,157.5), (33,156.6,45.3,157.5), (28.05,168.45,32.4,169.35), (28.05,168.45,32.4,169.35), (28.05,172.65,32.4,173.55), (28.05,172.65,32.4,173.55), (33,184.2,45.3,185.1), (33,184.2,45.3,185.1), (28.05,196.05,32.4,196.95), (28.05,196.05,32.4,196.95), (28.05,200.25,32.4,201.15), (28.05,200.25,32.4,201.15), (33,211.8,45.3,212.7), (33,211.8,45.3,212.7)])
R(replica_bitline, metal2, [(27.15,9.6,28.05,219.6), (27.15,9.6,28.05,219.6), (32.55,9.6,33.45,214.8), (32.55,9.6,33.45,214.8), (42.75,9.6,43.65,214.8), (42.75,9.6,43.65,214.8), (29.4,13.8,30.3,21.9), (29.4,13.8,30.3,21.9), (36.15,13.8,37.05,18.6), (36.15,13.8,37.05,18.6)])
replica_bitline.add(gdstk.Reference(pinv_7, (27.6,19.2), rotation=3*pi/2, x_reflection=True))
replica_bitline.add(gdstk.Reference(pmos_m1_w1_2, (17.25,33.6), rotation=pi/2))
replica_bitline.add(gdstk.Reference(delay_chain, (27.6,48), rotation=pi/2))
replica_bitline.add(gdstk.Reference(replica_cell_6t, (33,33), x_reflection=True))
replica_bitline.add(gdstk.Reference(bitline_load, (33,33)))
replica_bitline.add(gdstk.Reference(metal1_via1_metal2_1x1, (27.45,34.5)))
replica_bitline.add(gdstk.Reference(metal1_via1_metal2_1x1, (27.45,57.9)))
replica_bitline.add(gdstk.Reference(metal1_via1_metal2_1x1, (27.45,62.1)))
replica_bitline.add(gdstk.Reference(metal1_via1_metal2_1x1, (27.45,85.5)))
replica_bitline.add(gdstk.Reference(metal1_via1_metal2_1x1, (27.45,89.7)))
replica_bitline.add(gdstk.Reference(metal1_via1_metal2_1x1, (27.45,113.1)))
replica_bitline.add(gdstk.Reference(metal1_via1_metal2_1x1, (27.45,117.3)))
replica_bitline.add(gdstk.Reference(metal1_via1_metal2_1x1, (27.45,140.7)))
replica_bitline.add(gdstk.Reference(metal1_via1_metal2_1x1, (27.45,144.9)))
replica_bitline.add(gdstk.Reference(metal1_via1_metal2_1x1, (27.45,168.3)))
replica_bitline.add(gdstk.Reference(metal1_via1_metal2_1x1, (27.45,172.5)))
replica_bitline.add(gdstk.Reference(metal1_via1_metal2_1x1, (27.45,195.9)))
replica_bitline.add(gdstk.Reference(metal1_via1_metal2_1x1, (27.45,200.1)))
replica_bitline.add(gdstk.Reference(metal1_via1_metal2_1x1, (27.6,48)))
replica_bitline.add(gdstk.Reference(metal1_via1_metal2_1x1, (27,8.4)))
replica_bitline.add(gdstk.Reference(metal1_via1_metal2_1x1, (33.6,9), rotation=pi/2))
replica_bitline.add(gdstk.Reference(metal1_via1_metal2_1x1, (43.8,9), rotation=pi/2))
replica_bitline.add(gdstk.Reference(poly_contact_metal1_1x1, (20.4,34.8)))
replica_bitline.add(gdstk.Reference(metal1_via1_metal2_1x1, (30.45,21.3), rotation=pi/2))
replica_bitline.add(gdstk.Reference(metal1_via1_metal2_1x1, (30.45,13.2), rotation=pi/2))
replica_bitline.add(gdstk.Reference(metal1_via1_metal2_1x1, (37.2,13.2), rotation=pi/2))
replica_bitline.add(gdstk.Reference(pinv_7, (27.6,19.2), rotation=3*pi/2, x_reflection=True))
replica_bitline.add(gdstk.Reference(pmos_m1_w1_2, (17.25,33.6), rotation=pi/2))
replica_bitline.add(gdstk.Reference(delay_chain, (27.6,48), rotation=pi/2))
replica_bitline.add(gdstk.Reference(replica_cell_6t, (33,33), x_reflection=True))
replica_bitline.add(gdstk.Reference(bitline_load, (33,33)))
replica_bitline.add(gdstk.Reference(metal1_via1_metal2_1x1, (27.45,34.5)))
replica_bitline.add(gdstk.Reference(metal1_via1_metal2_1x1, (27.45,57.9)))
replica_bitline.add(gdstk.Reference(metal1_via1_metal2_1x1, (27.45,62.1)))
replica_bitline.add(gdstk.Reference(metal1_via1_metal2_1x1, (27.45,85.5)))
replica_bitline.add(gdstk.Reference(metal1_via1_metal2_1x1, (27.45,89.7)))
replica_bitline.add(gdstk.Reference(metal1_via1_metal2_1x1, (27.45,113.1)))
replica_bitline.add(gdstk.Reference(metal1_via1_metal2_1x1, (27.45,117.3)))
replica_bitline.add(gdstk.Reference(metal1_via1_metal2_1x1, (27.45,140.7)))
replica_bitline.add(gdstk.Reference(metal1_via1_metal2_1x1, (27.45,144.9)))
replica_bitline.add(gdstk.Reference(metal1_via1_metal2_1x1, (27.45,168.3)))
replica_bitline.add(gdstk.Reference(metal1_via1_metal2_1x1, (27.45,172.5)))
replica_bitline.add(gdstk.Reference(metal1_via1_metal2_1x1, (27.45,195.9)))
replica_bitline.add(gdstk.Reference(metal1_via1_metal2_1x1, (27.45,200.1)))
replica_bitline.add(gdstk.Reference(metal1_via1_metal2_1x1, (27.6,48)))
replica_bitline.add(gdstk.Reference(metal1_via1_metal2_1x1, (27,8.4)))
replica_bitline.add(gdstk.Reference(metal1_via1_metal2_1x1, (33.6,9), rotation=pi/2))
replica_bitline.add(gdstk.Reference(metal1_via1_metal2_1x1, (43.8,9), rotation=pi/2))
replica_bitline.add(gdstk.Reference(poly_contact_metal1_1x1, (20.4,34.8)))
replica_bitline.add(gdstk.Reference(metal1_via1_metal2_1x1, (30.45,21.3), rotation=pi/2))
replica_bitline.add(gdstk.Reference(metal1_via1_metal2_1x1, (30.45,13.2), rotation=pi/2))
replica_bitline.add(gdstk.Reference(metal1_via1_metal2_1x1, (37.2,13.2), rotation=pi/2))
replica_bitline.add(gdstk.Label('bl[0]', (20.4,15.6), layer=49, texttype=0))
replica_bitline.add(gdstk.Label('delayed_en', (20.55,48), layer=49, texttype=0))
replica_bitline.add(gdstk.Label('en', (6,0), layer=49, texttype=0))
replica_bitline.add(gdstk.Label('vdd', (45.3,0), layer=49, texttype=0))
replica_bitline.add(gdstk.Label('vdd', (13.35,0), layer=49, texttype=0))
replica_bitline.add(gdstk.Label('gnd', (27.15,0), layer=49, texttype=0))
replica_bitline.add(gdstk.Label('gnd', (-0.45,0), layer=49, texttype=0))
replica_bitline.add(gdstk.Label('out', (20.55,0), layer=49, texttype=0))
replica_bitline.add(gdstk.Label('bl[0]', (20.4,15.6), layer=49, texttype=0))
replica_bitline.add(gdstk.Label('delayed_en', (20.55,48), layer=49, texttype=0))
replica_bitline.add(gdstk.Label('en', (6,0), layer=49, texttype=0))
replica_bitline.add(gdstk.Label('vdd', (45.3,0), layer=49, texttype=0))
replica_bitline.add(gdstk.Label('vdd', (13.35,0), layer=49, texttype=0))
replica_bitline.add(gdstk.Label('gnd', (27.15,0), layer=49, texttype=0))
replica_bitline.add(gdstk.Label('gnd', (-0.45,0), layer=49, texttype=0))
replica_bitline.add(gdstk.Label('out', (20.55,0), layer=49, texttype=0))

lib.write_gds('replica_bitline.gds')
